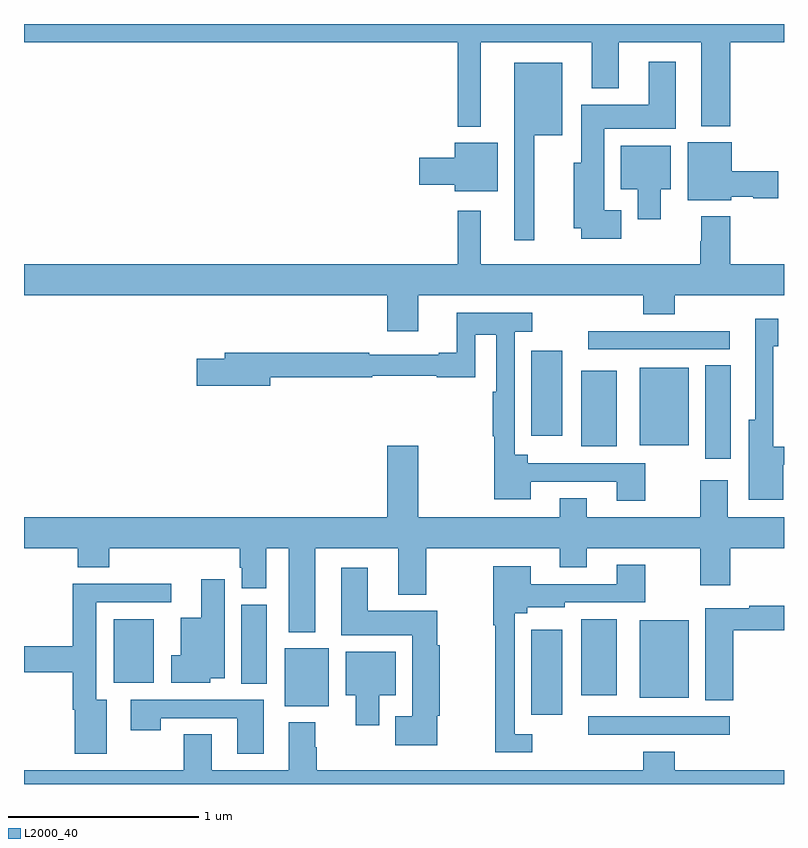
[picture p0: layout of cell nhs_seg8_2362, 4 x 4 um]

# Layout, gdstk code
import gdstk
lib = gdstk.Library(unit=1e-6, precision=1e-09)
def R(c, l, rs):  # rectangles x0, y0, x1, y1
    for r in rs: c.add(gdstk.rectangle(r[:2], r[2:], *l))
def P(c, l, *ps):  # polygons
    for p in ps: c.add(gdstk.Polygon(p, *l))
L2000_40 = (2000, 40)

nhs_seg8_2362 = lib.new_cell('nhs_seg8_2362')
R(nhs_seg8_2362, L2000_40, [(261.969,1142.16,262.714,1142.256), (261.671,1142.265,261.832,1142.713), (260.372,1142.309,260.605,1142.614), (262.241,1142.354,262.498,1142.761), (261.932,1142.366,262.12,1142.767), (260.144,1142.428,260.278,1142.844), (259.472,1142.432,259.684,1142.767), (262.586,1143.612,262.72,1144.103), (261.932,1143.677,262.12,1144.075), (262.241,1143.683,262.498,1144.09), (261.671,1143.732,261.832,1144.18), (261.969,1144.188,262.714,1144.284)])
P(nhs_seg8_2362, L2000_40, [(261.403,1145.804),(261.989,1145.804),(261.989,1145.561),(262.129,1145.561),(262.129,1145.804),(262.565,1145.804),(262.565,1145.363),(262.718,1145.363),(262.718,1145.804),(263,1145.804),(263,1145.9),(259,1145.9),(259,1145.804),(261.282,1145.804),(261.282,1145.36),(261.403,1145.36)],
  [(262.144,1144.921),(262.054,1144.921),(262.054,1145.348),(262.429,1145.348),(262.429,1145.701),(262.289,1145.701),(262.289,1145.476),(261.932,1145.476),(261.932,1145.17),(261.893,1145.17),(261.893,1144.826),(261.932,1144.826),(261.932,1144.769),(262.144,1144.769)],
  [(261.685,1145.315),(261.832,1145.315),(261.832,1145.695),(261.581,1145.695),(261.581,1144.761),(261.685,1144.761)],
  [(262.722,1144.991),(262.839,1144.991),(262.839,1144.984),(262.969,1144.984),(262.969,1145.126),(262.726,1145.126),(262.726,1145.278),(262.493,1145.278),(262.493,1144.973),(262.722,1144.973)],
  [(261.493,1145.275),(261.266,1145.275),(261.266,1145.195),(261.081,1145.195),(261.081,1145.053),(261.266,1145.053),(261.266,1145.021),(261.493,1145.021)],
  [(262.351,1145.03),(262.405,1145.03),(262.405,1145.26),(262.142,1145.26),(262.142,1145.03),(262.229,1145.03),(262.229,1144.872),(262.351,1144.872)],
  [(261.076,1144.472),(262.259,1144.472),(262.259,1144.373),(262.424,1144.373),(262.424,1144.472),(263,1144.472),(263,1144.636),(262.718,1144.636),(262.718,1144.888),(262.565,1144.888),(262.565,1144.757),(262.558,1144.757),(262.558,1144.636),(261.403,1144.636),(261.403,1144.918),(261.282,1144.918),(261.282,1144.636),(259,1144.636),(259,1144.472),(260.912,1144.472),(260.912,1144.284),(261.076,1144.284)],
  [(262.269,1143.588),(261.652,1143.588),(261.652,1143.634),(261.582,1143.634),(261.582,1144.28),(261.676,1144.28),(261.676,1144.38),(261.278,1144.38),(261.278,1144.171),(261.182,1144.171),(261.182,1144.158),(260.816,1144.158),(260.816,1144.171),(260.057,1144.171),(260.057,1144.137),(259.908,1144.137),(259.908,1143.995),(260.296,1143.995),(260.296,1144.042),(260.832,1144.042),(260.832,1144.05),(261.172,1144.05),(261.172,1144.042),(261.375,1144.042),(261.375,1144.264),(261.486,1144.264),(261.486,1143.965),(261.466,1143.965),(261.466,1143.73),(261.474,1143.73),(261.474,1143.398),(261.667,1143.398),(261.667,1143.492),(262.121,1143.492),(262.121,1143.39),(262.269,1143.39)],
  [(262.996,1143.579),(263,1143.579),(263,1143.675),(262.944,1143.675),(262.944,1144.203),(262.971,1144.203),(262.971,1144.348),(262.848,1144.348),(262.848,1143.817),(262.814,1143.817),(262.814,1143.395),(262.996,1143.395)],
  [(260.533,1143.14),(260.969,1143.14),(260.969,1142.897),(261.117,1142.897),(261.117,1143.14),(261.821,1143.14),(261.821,1143.041),(261.961,1143.041),(261.961,1143.14),(262.558,1143.14),(262.558,1142.946),(262.718,1142.946),(262.718,1143.14),(263,1143.14),(263,1143.304),(262.705,1143.304),(262.705,1143.499),(262.558,1143.499),(262.558,1143.304),(261.961,1143.304),(261.961,1143.403),(261.821,1143.403),(261.821,1143.304),(261.076,1143.304),(261.076,1143.679),(260.912,1143.679),(260.912,1143.304),(259,1143.304),(259,1143.14),(259.283,1143.14),(259.283,1143.041),(259.448,1143.041),(259.448,1143.14),(260.135,1143.14),(260.135,1143.039),(260.147,1143.039),(260.147,1142.929),(260.275,1142.929),(260.275,1143.14),(260.393,1143.14),(260.393,1142.699),(260.533,1142.699)],
  [(261.676,1142.163),(261.582,1142.163),(261.582,1142.798),(261.648,1142.798),(261.648,1142.831),(261.846,1142.831),(261.846,1142.856),(262.269,1142.856),(262.269,1143.055),(262.121,1143.055),(262.121,1142.952),(261.667,1142.952),(261.667,1143.046),(261.47,1143.046),(261.47,1142.735),(261.481,1142.735),(261.481,1142.067),(261.676,1142.067)],
  [(261.174,1142.259),(261.187,1142.259),(261.187,1142.631),(261.174,1142.631),(261.174,1142.812),(260.809,1142.812),(260.809,1143.037),(260.669,1143.037),(260.669,1142.684),(261.044,1142.684),(261.044,1142.257),(260.954,1142.257),(260.954,1142.105),(261.174,1142.105)],
  [(259.98,1142.456),(260.056,1142.456),(260.056,1142.977),(259.934,1142.977),(259.934,1142.776),(259.826,1142.776),(259.826,1142.578),(259.775,1142.578),(259.775,1142.432),(259.98,1142.432)],
  [(259.435,1142.344),(259.381,1142.344),(259.381,1142.856),(259.774,1142.856),(259.774,1142.954),(259.256,1142.954),(259.256,1142.624),(259,1142.624),(259,1142.488),(259.256,1142.488),(259.256,1142.291),(259.268,1142.291),(259.268,1142.058),(259.435,1142.058)],
  [(262.733,1142.71),(263,1142.71),(263,1142.839),(262.816,1142.839),(262.816,1142.826),(262.586,1142.826),(262.586,1142.341),(262.733,1142.341)],
  [(260.869,1142.366),(260.956,1142.366),(260.956,1142.596),(260.693,1142.596),(260.693,1142.366),(260.747,1142.366),(260.747,1142.208),(260.869,1142.208)],
  [(260.263,1142.343),(259.563,1142.343),(259.563,1142.184),(259.719,1142.184),(259.719,1142.247),(260.123,1142.247),(260.123,1142.058),(260.263,1142.058)],
  [(263,1141.972),(262.424,1141.972),(262.424,1142.071),(262.259,1142.071),(262.259,1141.972),(260.541,1141.972),(260.541,1142.093),(260.533,1142.093),(260.533,1142.224),(260.393,1142.224),(260.393,1141.972),(259.987,1141.972),(259.987,1142.162),(259.84,1142.162),(259.84,1141.972),(259,1141.972),(259,1141.9),(263,1141.9)])

lib.write_gds('nhs_seg8_2362.gds')
